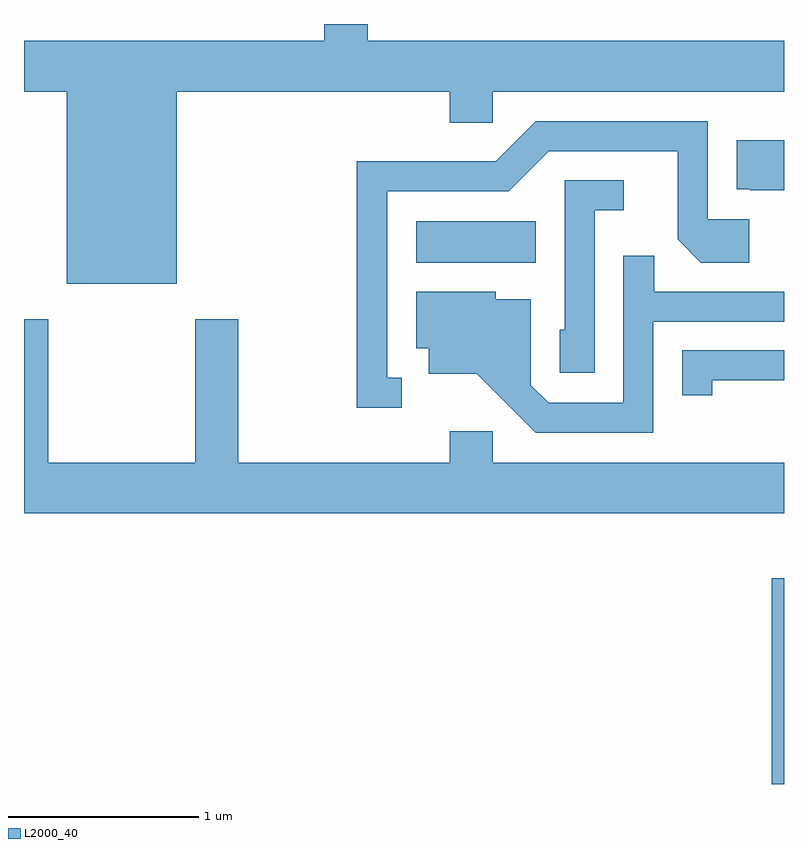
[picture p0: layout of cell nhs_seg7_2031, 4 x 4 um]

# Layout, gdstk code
import gdstk
lib = gdstk.Library(unit=1e-6, precision=1e-09)
def R(c, l, rs):  # rectangles x0, y0, x1, y1
    for r in rs: c.add(gdstk.rectangle(r[:2], r[2:], *l))
def P(c, l, *ps):  # polygons
    for p in ps: c.add(gdstk.Polygon(p, *l))
L2000_40 = (2000, 40)

nhs_seg7_2031 = lib.new_cell('nhs_seg7_2031')
R(nhs_seg7_2031, L2000_40, [(251.546,1686.252,251.611,1687.334), (249.676,1688.996,250.304,1689.214)])
P(nhs_seg7_2031, L2000_40, [(248.414,1689.896),(249.851,1689.896),(249.851,1689.731),(250.079,1689.731),(250.079,1689.896),(251.611,1689.896),(251.611,1690.164),(249.419,1690.164),(249.419,1690.252),(249.191,1690.252),(249.191,1690.164),(247.611,1690.164),(247.611,1689.896),(247.836,1689.896),(247.836,1688.886),(248.414,1688.886)],
  [(249.598,1688.389),(249.524,1688.389),(249.524,1689.371),(250.162,1689.371),(250.372,1689.581),(251.051,1689.581),(251.051,1689.119),(251.174,1688.996),(251.429,1688.996),(251.429,1689.224),(251.209,1689.224),(251.209,1689.739),(250.304,1689.739),(250.094,1689.529),(249.361,1689.529),(249.361,1688.231),(249.598,1688.231)],
  [(251.611,1689.639),(251.361,1689.639),(251.361,1689.381),(251.429,1689.381),(251.434,1689.376),(251.611,1689.376)],
  [(250.614,1689.271),(250.768,1689.271),(250.768,1689.429),(250.456,1689.429),(250.456,1688.644),(250.431,1688.644),(250.431,1688.416),(250.614,1688.416)],
  [(250.924,1688.686),(251.611,1688.686),(251.611,1688.844),(250.929,1688.844),(250.929,1689.033),(250.766,1689.033),(250.766,1688.259),(250.372,1688.259),(250.279,1688.352),(250.279,1688.804),(250.094,1688.804),(250.094,1688.844),(249.676,1688.844),(249.676,1688.546),(249.741,1688.546),(249.741,1688.411),(249.994,1688.411),(250.304,1688.101),(250.924,1688.101)],
  [(251.611,1687.944),(250.079,1687.944),(250.079,1688.109),(249.851,1688.109),(249.851,1687.944),(248.739,1687.944),(248.739,1688.699),(248.511,1688.699),(248.511,1687.944),(247.739,1687.944),(247.739,1688.699),(247.611,1688.699),(247.611,1687.676),(251.611,1687.676)],
  [(251.234,1688.376),(251.611,1688.376),(251.611,1688.534),(251.076,1688.534),(251.076,1688.298),(251.234,1688.298)])

lib.write_gds('nhs_seg7_2031.gds')
